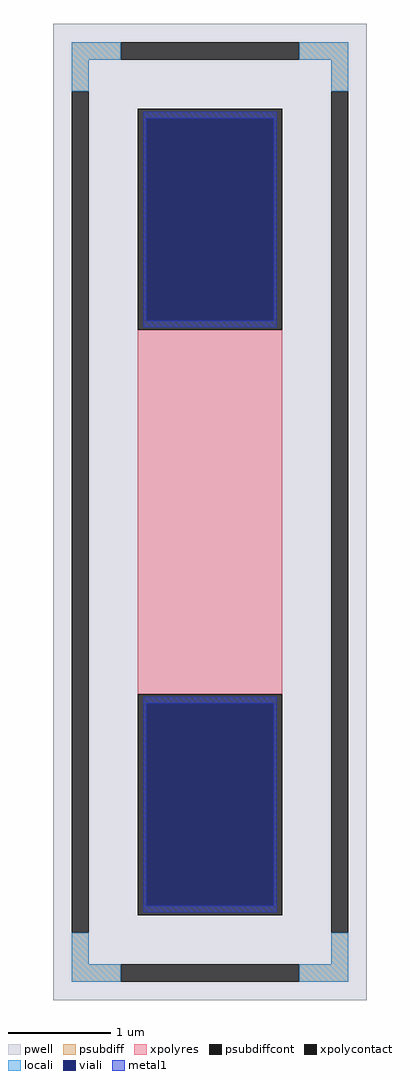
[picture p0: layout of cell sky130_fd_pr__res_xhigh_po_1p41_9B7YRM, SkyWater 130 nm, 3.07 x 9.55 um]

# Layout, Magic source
magic
tech sky130A
magscale 1 2
<< pwell >>
rect -307 -955 307 955
<< psubdiff >>
rect -271 885 -175 919
rect 175 885 271 919
rect -271 823 -237 885
rect 237 823 271 885
rect -271 -885 -237 -823
rect 237 -885 271 -823
rect -271 -919 -175 -885
rect 175 -919 271 -885
<< psubdiffcont >>
rect -175 885 175 919
rect -271 -823 -237 823
rect 237 -823 271 823
rect -175 -919 175 -885
<< xpolycontact >>
rect -141 357 141 789
rect -141 -789 141 -357
<< xpolyres >>
rect -141 -357 141 357
<< locali >>
rect -271 885 -175 919
rect 175 885 271 919
rect -271 823 -237 885
rect 237 823 271 885
rect -271 -885 -237 -823
rect 237 -885 271 -823
rect -271 -919 -175 -885
rect 175 -919 271 -885
<< viali >>
rect -125 374 125 771
rect -125 -771 125 -374
<< metal1 >>
rect -131 771 131 783
rect -131 374 -125 771
rect 125 374 131 771
rect -131 362 131 374
rect -131 -374 131 -362
rect -131 -771 -125 -374
rect 125 -771 131 -374
rect -131 -783 131 -771
<< properties >>
string FIXED_BBOX -254 -902 254 902
string gencell sky130_fd_pr__res_xhigh_po_1p41
string library sky130
string parameters w 1.410 l 3.731 m 1 nx 1 wmin 1.410 lmin 0.50 rho 2000 val 5.559k dummy 0 dw 0.0 term 188.2 sterm 0.0 caplen 0 wmax 1.410 guard 1 glc 1 grc 1 gtc 1 gbc 1 compatible {sky130_fd_pr__res_xhigh_po_0p35  sky130_fd_pr__res_xhigh_po_0p69 sky130_fd_pr__res_xhigh_po_1p41  sky130_fd_pr__res_xhigh_po_2p85 sky130_fd_pr__res_xhigh_po_5p73} snake 0 full_metal 1 n_guard 0 hv_guard 0 vias 1 viagb 0 viagt 0 viagl 0 viagr 0
<< end >>
